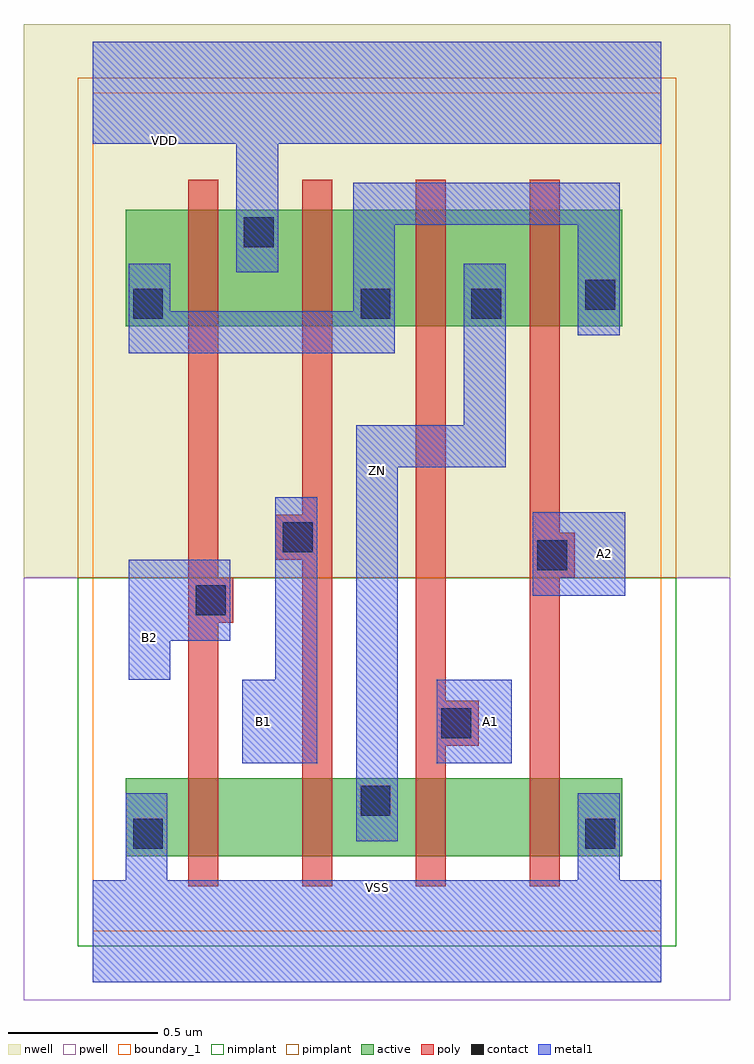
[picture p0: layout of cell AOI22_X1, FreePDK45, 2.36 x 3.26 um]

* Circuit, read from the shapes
.subckt AOI22_X1 A1 A2 B1 B2 VDD VSS ZN
M1 n1 B2 VSS VSUBS nfet w=0.26u l=0.1u
M2 ZN B1 n1 VSUBS nfet w=0.26u l=0.1u
M3 n2 A1 ZN VSUBS nfet w=0.26u l=0.1u
M4 VSS A2 n2 VSUBS nfet w=0.26u l=0.1u
M5 VDD B2 n3 n4 pfet w=0.39u l=0.1u
M6 n3 B1 VDD n4 pfet w=0.39u l=0.1u
M7 ZN A1 n3 n4 pfet w=0.39u l=0.1u
M8 n3 A2 ZN n4 pfet w=0.39u l=0.1u
.ends

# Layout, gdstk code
import gdstk
lib = gdstk.Library(unit=1e-6, precision=1e-09)
def R(c, l, rs):  # rectangles x0, y0, x1, y1
    for r in rs: c.add(gdstk.rectangle(r[:2], r[2:], *l))
def P(c, l, *ps):  # polygons
    for p in ps: c.add(gdstk.Polygon(p, *l))
active = (1, 0)
pwell = (2, 0)
nwell = (3, 0)
nimplant = (4, 0)
pimplant = (5, 0)
poly = (9, 0)
contact = (10, 0)
metal1 = (11, 0)
boundary_1 = (235, 1)

aoi22_x1 = lib.new_cell('AOI22_X1')
R(aoi22_x1, active, [(0.11,0.25,1.77,0.51), (0.11,2.02,1.77,2.41)])
R(aoi22_x1, pwell, [(-0.23,-0.23,2.13,1.18)])
R(aoi22_x1, nwell, [(-0.23,1.18,2.13,3.03)])
R(aoi22_x1, nimplant, [(-0.05,-0.05,1.95,1.18)])
R(aoi22_x1, pimplant, [(-0.05,1.18,1.95,2.85)])
P(aoi22_x1, poly, [(1.46,0.15),(1.56,0.15),(1.56,1.18),(1.61,1.18),(1.61,1.33),(1.56,1.33),(1.56,2.51),(1.46,2.51)],
  [(1.08,0.15),(1.18,0.15),(1.18,0.62),(1.29,0.62),(1.29,0.77),(1.18,0.77),(1.18,2.51),(1.08,2.51)],
  [(0.61,1.24),(0.7,1.24),(0.7,0.15),(0.8,0.15),(0.8,2.51),(0.7,2.51),(0.7,1.39),(0.61,1.39)],
  [(0.32,0.15),(0.42,0.15),(0.42,1.03),(0.47,1.03),(0.47,1.18),(0.42,1.18),(0.42,2.51),(0.32,2.51)])
R(aoi22_x1, contact, [(0.135,0.275,0.235,0.375), (1.645,0.275,1.745,0.375), (0.895,0.385,0.995,0.485), (1.165,0.645,1.265,0.745), (0.345,1.055,0.445,1.155), (1.485,1.205,1.585,1.305), (0.635,1.265,0.735,1.365), (0.135,2.045,0.235,2.145), (0.895,2.045,0.995,2.145), (1.265,2.045,1.365,2.145), (1.645,2.075,1.745,2.175), (0.505,2.285,0.605,2.385)])
R(aoi22_x1, metal1, [(1.15,0.56,1.4,0.84), (1.15,0.56,1.4,0.84), (1.47,1.12,1.78,1.4), (1.47,1.12,1.78,1.4)])
P(aoi22_x1, metal1, [(0.88,0.3),(1.02,0.3),(1.02,1.55),(1.38,1.55),(1.38,2.23),(1.24,2.23),(1.24,1.69),(0.88,1.69)],
  [(0.12,0.84),(0.26,0.84),(0.26,0.97),(0.46,0.97),(0.46,1.24),(0.12,1.24)],
  [(0,-0.17),(1.9,-0.17),(1.9,0.17),(1.76,0.17),(1.76,0.46),(1.62,0.46),(1.62,0.17),(0.25,0.17),(0.25,0.46),(0.11,0.46),(0.11,0.17),(0,0.17)],
  [(0.5,0.56),(0.75,0.56),(0.75,1.45),(0.61,1.45),(0.61,0.84),(0.5,0.84)],
  [(0,2.63),(0.48,2.63),(0.48,2.2),(0.62,2.2),(0.62,2.63),(1.9,2.63),(1.9,2.97),(0,2.97)],
  [(0,2.63),(0.48,2.63),(0.48,2.2),(0.62,2.2),(0.62,2.63),(1.9,2.63),(1.9,2.97),(0,2.97)],
  [(0,-0.17),(1.9,-0.17),(1.9,0.17),(1.76,0.17),(1.76,0.46),(1.62,0.46),(1.62,0.17),(0.25,0.17),(0.25,0.46),(0.11,0.46),(0.11,0.17),(0,0.17)],
  [(0.12,1.93),(1.01,1.93),(1.01,2.36),(1.62,2.36),(1.62,1.99),(1.76,1.99),(1.76,2.5),(0.87,2.5),(0.87,2.07),(0.26,2.07),(0.26,2.23),(0.12,2.23)],
  [(0.88,0.3),(1.02,0.3),(1.02,1.55),(1.38,1.55),(1.38,2.23),(1.24,2.23),(1.24,1.69),(0.88,1.69)],
  [(0.5,0.56),(0.75,0.56),(0.75,1.45),(0.61,1.45),(0.61,0.84),(0.5,0.84)],
  [(0.12,0.84),(0.26,0.84),(0.26,0.97),(0.46,0.97),(0.46,1.24),(0.12,1.24)])
R(aoi22_x1, boundary_1, [(0,0,1.9,2.8)])
aoi22_x1.add(gdstk.Label('ZN', (0.95,1.54), layer=11, texttype=0))
aoi22_x1.add(gdstk.Label('VSS', (0.95,0.145), layer=11, texttype=0))
aoi22_x1.add(gdstk.Label('VDD', (0.24,2.64), layer=11, texttype=0))
aoi22_x1.add(gdstk.Label('B2', (0.19,0.98), layer=11, texttype=0))
aoi22_x1.add(gdstk.Label('B1', (0.57,0.7), layer=11, texttype=0))
aoi22_x1.add(gdstk.Label('A2', (1.71,1.26), layer=11, texttype=0))
aoi22_x1.add(gdstk.Label('A1', (1.33,0.7), layer=11, texttype=0))

lib.write_gds('AOI22_X1.gds')
